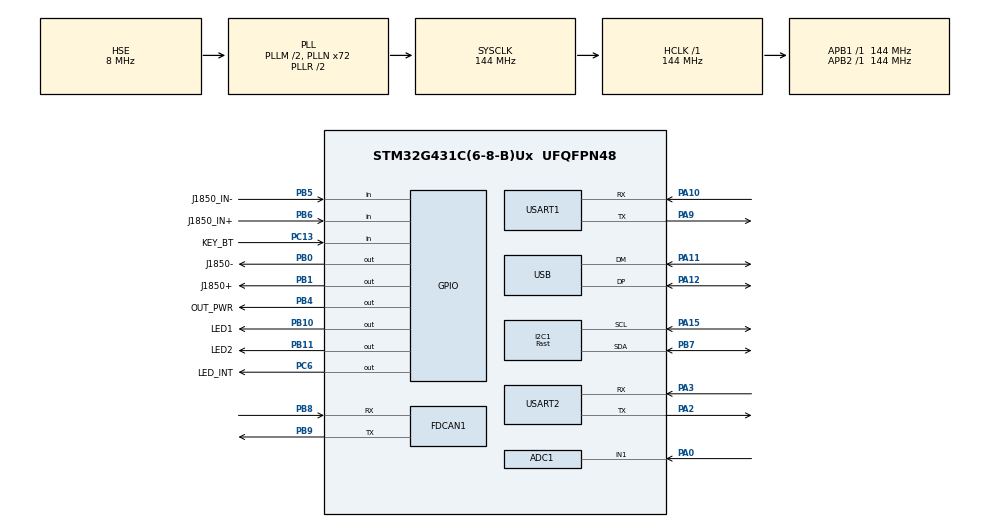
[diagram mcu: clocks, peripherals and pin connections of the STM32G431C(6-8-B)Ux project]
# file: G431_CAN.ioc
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ADC1.Channel-0\#ChannelRegularConversion=ADC_CHANNEL_1
ADC1.ContinuousConvMode=ENABLE
ADC1.DMAContinuousRequests=ENABLE
ADC1.NbrOfConversionFlag=1
ADC1.OffsetNumber-0\#ChannelRegularConversion=ADC_OFFSET_NONE
ADC1.Rank-0\#ChannelRegularConversion=1
ADC1.SamplingTime-0\#ChannelRegularConversion=ADC_SAMPLETIME_247CYCLES_5
ADC1.master=1
Dma.ADC1.0.Direction=DMA_PERIPH_TO_MEMORY
Dma.ADC1.0.EventEnable=DISABLE
Dma.ADC1.0.Instance=DMA1_Channel1
Dma.ADC1.0.MemDataAlignment=DMA_MDATAALIGN_HALFWORD
Dma.ADC1.0.MemInc=DMA_MINC_ENABLE
Dma.ADC1.0.Mode=DMA_NORMAL
Dma.ADC1.0.PeriphDataAlignment=DMA_PDATAALIGN_HALFWORD
Dma.ADC1.0.PeriphInc=DMA_PINC_DISABLE
Dma.ADC1.0.Polarity=HAL_DMAMUX_REQ_GEN_RISING
Dma.ADC1.0.Priority=DMA_PRIORITY_LOW
Dma.ADC1.0.RequestNumber=1
Dma.ADC1.0.SignalID=NONE
Dma.ADC1.0.SyncEnable=DISABLE
Dma.ADC1.0.SyncPolarity=HAL_DMAMUX_SYNC_NO_EVENT
Dma.ADC1.0.SyncRequestNumber=1
Dma.ADC1.0.SyncSignalID=NONE
Dma.Request0=ADC1
FDCAN1.CalculateBaudRateNominal=500000
FDCAN1.CalculateTimeBitNominal=2000
FDCAN1.CalculateTimeQuantumNominal=125.0
FDCAN1.DataTimeSeg2=16
FDCAN1.NominalPrescaler=18
FDCAN1.NominalTimeSeg2=13
I2C1.I2C_Speed_Mode=I2C_Fast
I2C1.Timing=0x10E32674
Mcu.Family=STM32G4
Mcu.Name=STM32G431C(6-8-B)Ux
Mcu.Package=UFQFPN48
NVIC.ADC1_2_IRQn=true\:0\:0\:false\:false\:true\:true\:true\:true
NVIC.DMA1_Channel1_IRQn=true\:0\:0\:false\:false\:true\:false\:true\:true
NVIC.FDCAN1_IT0_IRQn=true\:0\:0\:false\:false\:true\:true\:true\:true
NVIC.FDCAN1_IT1_IRQn=true\:0\:0\:false\:false\:true\:true\:true\:true
NVIC.PriorityGroup=NVIC_PRIORITYGROUP_4
NVIC.USART1_IRQn=true\:0\:0\:false\:false\:true\:true\:true\:true
PA0.Mode=IN1-Single-Ended
PA0.Signal=ADC1_IN1
PA10.Mode=Asynchronous
PA10.Signal=USART1_RX
PA11.Mode=Device
PA11.Signal=USB_DM
PA12.Mode=Device
PA12.Signal=USB_DP
PA13.Mode=Serial_Wire
PA13.Signal=SYS_JTMS-SWDIO
PA14.Mode=Serial_Wire
PA14.Signal=SYS_JTCK-SWCLK
PA15.Mode=I2C
PA15.Signal=I2C1_SCL
PA2.Mode=Asynchronous
PA2.Signal=USART2_TX
PA3.Mode=Asynchronous
PA3.Signal=USART2_RX
PA9.Mode=Asynchronous
PA9.Signal=USART1_TX
PB0.GPIO_Label=J1850-
PB0.Signal=GPIO_Output
PB1.GPIO_Label=J1850+
PB1.Signal=GPIO_Output
PB10.GPIO_Label=LED1
PB10.Signal=GPIO_Output
PB11.GPIO_Label=LED2
PB11.Signal=GPIO_Output
PB4.GPIO_Label=OUT_PWR
PB4.Signal=GPIO_Output
PB5.GPIO_Label=J1850_IN-
PB5.Signal=GPIO_Input
PB6.GPIO_Label=J1850_IN+
PB6.Signal=GPIO_Input
PB7.Mode=I2C
PB7.Signal=I2C1_SDA
PB8-BOOT0.Mode=FDCAN_Activate
PB8-BOOT0.Signal=FDCAN1_RX
PB9.Mode=FDCAN_Activate
PB9.Signal=FDCAN1_TX
PC13.GPIO_Label=KEY_BT
PC13.Signal=GPIO_Input
PC14-OSC32_IN.Mode=LSE-External-Oscillator
PC14-OSC32_IN.Signal=RCC_OSC32_IN
PC15-OSC32_OUT.Mode=LSE-External-Oscillator
PC15-OSC32_OUT.Signal=RCC_OSC32_OUT
PC6.GPIO_Label=LED_INT
PC6.Signal=GPIO_Output
PF0-OSC_IN.Mode=HSE-External-Oscillator
PF0-OSC_IN.Signal=RCC_OSC_IN
PF1-OSC_OUT.Mode=HSE-External-Oscillator
PF1-OSC_OUT.Signal=RCC_OSC_OUT
ProjectManager.HeapSize=0x200
ProjectManager.StackSize=0x400
ProjectManager.TargetToolchain=STM32CubeIDE
RCC.ADC12Freq_Value=144000000
RCC.AHBFreq_Value=144000000
RCC.APB1Freq_Value=144000000
RCC.APB1TimFreq_Value=144000000
RCC.APB2Freq_Value=144000000
RCC.APB2TimFreq_Value=144000000
RCC.CortexFreq_Value=144000000
RCC.EXTERNAL_CLOCK_VALUE=12288000
RCC.HCLKFreq_Value=144000000
RCC.HSE_VALUE=8000000
RCC.HSI48_VALUE=48000000
RCC.HSI_VALUE=16000000
RCC.PLLM=RCC_PLLM_DIV2
RCC.PLLN=72
RCC.PLLQ=RCC_PLLQ_DIV6
RCC.PLLSourceVirtual=RCC_PLLSOURCE_HSE
RCC.RTCClockSelection=RCC_RTCCLKSOURCE_LSE
RCC.SYSCLKFreq_VALUE=144000000
RCC.SYSCLKSource=RCC_SYSCLKSOURCE_PLLCLK
RCC.USBFreq_Value=48000000
RCC.VCOOutputFreq_Value=288000000
USART1.VirtualMode-Asynchronous=VM_ASYNC
USART2.VirtualMode-Asynchronous=VM_ASYNC
VP_RTC_VS_RTC_Activate.Mode=RTC_Enabled
VP_RTC_VS_RTC_Calendar.Mode=RTC_Calendar
VP_SYS_VS_DBSignals.Mode=DisableDeadBatterySignals
board=custom

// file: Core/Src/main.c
/* USER CODE BEGIN Header */
/**
  ******************************************************************************
  * @file           : main.c
  * @brief          : Main program body
  ******************************************************************************
  * @attention
  *
  * Copyright (c) 2024 STMicroelectronics.
  * All rights reserved.
  *
  * This software is licensed under terms that can be found in the LICENSE file
  * in the root directory of this software component.
  * If no LICENSE file comes with this software, it is provided AS-IS.
  *
  ******************************************************************************
  */
/* USER CODE END Header */
#include "main.h"
#include "adc.h"
#include "dma.h"
#include "fdcan.h"
#include "i2c.h"
#include "rtc.h"
#include "usart.h"
#include "usb.h"
#include "gpio.h"

/* USER CODE BEGIN Includes */
#include "stdio.h"
#include "string.h"
#include "ctype.h"
/* USER CODE END Includes */

/* USER CODE BEGIN PTD */
void NewCmdAT(void);
void resp_ok(void);
/* USER CODE END PTD */

/* USER CODE BEGIN PV */
//static const char ErrMessage [] = "?";
//static const char OkMessage  [] = "OK";
//static const char Version    [] = "1.12";
//static const char Interface  [] = "ELM329 v2.1";
//static const char Copyright  [] = "Copyright (c) 2009-2024 ObdDiag.Net";
//static const char Copyright2 [] = "This is free software; see the source for copying conditions. There is NO";
//static const char Copyright3 [] = "warranty; not even for MERCHANTABILITY or FITNESS FOR A PARTICULAR PURPOSE.";

extern volatile uint16_t pointer;
extern volatile uint8_t rx_uart[];
extern volatile uint8_t flag_rx;
uint32_t timer_led = 0;
char string_tx[1024] = {0};
uint8_t rx_cmd[100] = {0};

volatile uint16_t pointer_rx = 0;
/* USER CODE END PV */

void SystemClock_Config(void);

int main(void)
{

  /* MCU Configuration--------------------------------------------------------*/

  /* Reset of all peripherals, Initializes the Flash interface and the Systick. */
  HAL_Init();

  /* Configure the system clock */
  SystemClock_Config();

  /* Initialize all configured peripherals */
  MX_GPIO_Init();
  MX_DMA_Init();
  MX_FDCAN1_Init();
  MX_RTC_Init();
  MX_USART1_UART_Init();
  MX_USB_PCD_Init();
  MX_ADC1_Init();
  MX_I2C1_Init();
  MX_USART2_UART_Init();
  /* USER CODE BEGIN 2 */
  pointer = 0;
  HAL_UART_Receive_IT(&huart1, (uint8_t *)rx_uart, 1);
  string_tx[0] = '>';
  string_tx[1] = '\r';
  string_tx[2] = '\0';
  HAL_UART_Transmit(&huart1, (uint8_t *)string_tx, strlen(string_tx), 1000);
  /* USER CODE END 2 */

  /* Infinite loop */
  while (1)
  {

    /* USER CODE BEGIN 3 */
	if(HAL_GetTick() - timer_led > 500) {
	    timer_led = HAL_GetTick();
	    HAL_GPIO_TogglePin(LED_INT_GPIO_Port, LED_INT_Pin);
	}
	if(flag_rx == 1) {
		flag_rx = 0;
		NewCmdAT();
		//rx_cmd
		if ( (strncmp((char *)&rx_cmd, "Z", 1) == 0) || (strncmp((char *)&rx_cmd, "z", 1) == 0) ) {
			string_tx[0] = 'E';
			string_tx[1] = 'L';
			string_tx[2] = 'M';
			string_tx[3] = '3';
			string_tx[4] = '2';
			string_tx[5] = '7';
			string_tx[6] = ' ';
			string_tx[7] = 'v';
			string_tx[8] = '2';
			string_tx[9] = '.';
			string_tx[10] = '3';

			string_tx[11] = '\r';
			string_tx[12] = '\n';
			string_tx[13] = 0;
			HAL_UART_Transmit(&huart1, (uint8_t *)string_tx, strlen(string_tx), 1000);

			string_tx[0] = '>';
			string_tx[1] = '\r';
			string_tx[2] = '\0';
			HAL_UART_Transmit(&huart1, (uint8_t *)string_tx, strlen(string_tx), 1000);
		}
		else if(strncmp((char *)&rx_cmd, "I", 1) == 0) {
			string_tx[0] = 'E';
			string_tx[1] = 'L';
			string_tx[2] = 'M';
			string_tx[3] = '3';
			string_tx[4] = '2';
			string_tx[5] = '7';
			string_tx[6] = ' ';
			string_tx[7] = 'v';
			string_tx[8] = '2';
			string_tx[9] = '.';
			string_tx[10] = '3';

			string_tx[11] = '\r';
			string_tx[12] = '\n';
			string_tx[13] = 0;
			HAL_UART_Transmit(&huart1, (uint8_t *)string_tx, strlen(string_tx), 1000);

			string_tx[0] = '>';
			string_tx[1] = '\r';
			string_tx[2] = '\0';
			HAL_UART_Transmit(&huart1, (uint8_t *)string_tx, strlen(string_tx), 1000);
		}
		else if(strncmp((char *)&rx_cmd, "@1", 2) == 0) {
			string_tx[0] = '1';
			string_tx[1] = '.';
			string_tx[2] = '1';
			string_tx[3] = '3';

			string_tx[4] = '\r';
			string_tx[5] = '\n';
			string_tx[6] = 0;
			HAL_UART_Transmit(&huart1, (uint8_t *)string_tx, strlen(string_tx), 1000);

			string_tx[0] = '>';
			string_tx[1] = '\r';
			string_tx[2] = '\0';
			HAL_UART_Transmit(&huart1, (uint8_t *)string_tx, strlen(string_tx), 1000);
		}
		else if(strncmp((char *)&rx_cmd, "@2", 2) == 0) {
			//"Copyright (c) 2009-2016 ObdDiag.Net";
			// Copyright
			string_tx[0] = 'C';
			string_tx[1] = 'o';
			string_tx[2] = 'p';
			string_tx[3] = 'y';
			string_tx[4] = 'r';
			string_tx[5] = 'i';
			string_tx[6] = 'g';
			string_tx[7] = 'h';
			string_tx[8] = 't';
			string_tx[9] = ' ';
			string_tx[10] = '(';
			string_tx[11] = 'c';
			string_tx[12] = ')';
			string_tx[13] = ' ';
			string_tx[14] = '2';
			string_tx[15] = '0';
			string_tx[16] = '0';
			string_tx[17] = '9';
			string_tx[18] = '-';
			string_tx[19] = '2';
			string_tx[20] = '0';
			string_tx[21] = '1';
			string_tx[22] = '6';
			string_tx[23] = ' ';
			string_tx[24] = 'O';
			string_tx[25] = 'b';
			string_tx[26] = 'd';
			string_tx[27] = 'D';
			string_tx[28] = 'i';
			string_tx[29] = 'a';
			string_tx[30] = 'g';
			string_tx[31] = '.';
			string_tx[32] = 'N';
			string_tx[33] = 'e';
			string_tx[34] = 't';
			string_tx[35] = '\r';
			string_tx[36] = '\n';
			string_tx[37] = 0;
			HAL_UART_Transmit(&huart1, (uint8_t *)string_tx, strlen(string_tx), 1000);
			string_tx[0] = '>';
			string_tx[1] = '\r';
			string_tx[2] = '\0';
			HAL_UART_Transmit(&huart1, (uint8_t *)string_tx, strlen(string_tx), 1000);
		}
		else if( (strncmp((char *)&rx_cmd, "E0", 2) == 0) || (strncmp((char *)&rx_cmd, "e0", 2) == 0) ) {
			resp_ok();
		}
		else if( (strncmp((char *)&rx_cmd, "E1", 2) == 0) || (strncmp((char *)&rx_cmd, "e1", 2) == 0) ) {
			resp_ok();
		}
		else if( (strncmp((char *)&rx_cmd, "L0", 2) == 0) || (strncmp((char *)&rx_cmd, "l0", 2) == 0)) {
			resp_ok();
		}
		else if( (strncmp((char *)&rx_cmd, "S0", 2) == 0) || (strncmp((char *)&rx_cmd, "s0", 2) == 0)) {
			resp_ok();
		}
		else if( (strncmp((char *)&rx_cmd, "M0", 2) == 0) || (strncmp((char *)&rx_cmd, "m0", 2) == 0)) {
			resp_ok();
		}
	}
  }
  /* USER CODE END 3 */
}

void SystemClock_Config(void)
{
  RCC_OscInitTypeDef RCC_OscInitStruct = {0};
  RCC_ClkInitTypeDef RCC_ClkInitStruct = {0};

  /** Configure the main internal regulator output voltage
  */
  HAL_PWREx_ControlVoltageScaling(PWR_REGULATOR_VOLTAGE_SCALE1);

  /** Configure LSE Drive Capability
  */
  HAL_PWR_EnableBkUpAccess();
  __HAL_RCC_LSEDRIVE_CONFIG(RCC_LSEDRIVE_LOW);

  /** Initializes the RCC Oscillators according to the specified parameters
  * in the RCC_OscInitTypeDef structure.
  */
  RCC_OscInitStruct.OscillatorType = RCC_OSCILLATORTYPE_HSE|RCC_OSCILLATORTYPE_LSE;
  RCC_OscInitStruct.HSEState = RCC_HSE_ON;
  RCC_OscInitStruct.LSEState = RCC_LSE_ON;
  RCC_OscInitStruct.PLL.PLLState = RCC_PLL_ON;
  RCC_OscInitStruct.PLL.PLLSource = RCC_PLLSOURCE_HSE;
  RCC_OscInitStruct.PLL.PLLM = RCC_PLLM_DIV2;
  RCC_OscInitStruct.PLL.PLLN = 72;
  RCC_OscInitStruct.PLL.PLLP = RCC_PLLP_DIV2;
  RCC_OscInitStruct.PLL.PLLQ = RCC_PLLQ_DIV6;
  RCC_OscInitStruct.PLL.PLLR = RCC_PLLR_DIV2;
  if (HAL_RCC_OscConfig(&RCC_OscInitStruct) != HAL_OK)
  {
    Error_Handler();
  }

  /** Initializes the CPU, AHB and APB buses clocks
  */
  RCC_ClkInitStruct.ClockType = RCC_CLOCKTYPE_HCLK|RCC_CLOCKTYPE_SYSCLK
                              |RCC_CLOCKTYPE_PCLK1|RCC_CLOCKTYPE_PCLK2;
  RCC_ClkInitStruct.SYSCLKSource = RCC_SYSCLKSOURCE_PLLCLK;
  RCC_ClkInitStruct.AHBCLKDivider = RCC_SYSCLK_DIV1;
  RCC_ClkInitStruct.APB1CLKDivider = RCC_HCLK_DIV1;
  RCC_ClkInitStruct.APB2CLKDivider = RCC_HCLK_DIV1;

  if (HAL_RCC_ClockConfig(&RCC_ClkInitStruct, FLASH_LATENCY_4) != HAL_OK)
  {
    Error_Handler();
  }
}

/* USER CODE BEGIN 4 */
void HAL_UART_RxCpltCallback(UART_HandleTypeDef *huart)
{
	if(huart->Instance==USART1) {	// COMM
		HAL_UART_Receive_IT(&huart1, (uint8_t *)rx_uart, 1);
	}
}

void NewCmdAT(void)
{
    uint8_t indice = 0;

    if(rx_uart[pointer_rx] == '?' && rx_uart[pointer_rx+1] == '\r') {
    	resp_ok();
    	pointer_rx++;
    	pointer_rx++;
    }
    else if( (rx_uart[pointer_rx] == 'A' && rx_uart[pointer_rx+1] == 'T')  ||
    	     (rx_uart[pointer_rx] == 'a' && rx_uart[pointer_rx+1] == 't') ){
    	pointer_rx += 2;
    	indice = 0;
    	while(rx_uart[pointer_rx+indice] != '\r') {
    		rx_cmd[indice] = toupper(rx_uart[pointer_rx+indice]);
    		indice++;
    	}
    	pointer_rx +=indice+1;
    }
}

void resp_ok(void)
{
	string_tx[0] = 'O';
	string_tx[1] = 'K';
	string_tx[2] = '\r';
	string_tx[3] = '\n';
	string_tx[4] = 0;
	HAL_UART_Transmit(&huart1, (uint8_t *)string_tx, strlen(string_tx), 1000);
	string_tx[0] = '>';
	string_tx[1] = '\r';
	string_tx[2] = '\0';
	HAL_UART_Transmit(&huart1, (uint8_t *)string_tx, strlen(string_tx), 1000);
}

/* USER CODE END 4 */

void Error_Handler(void)
{
  __disable_irq();
  while (1)
  {
  }
}
